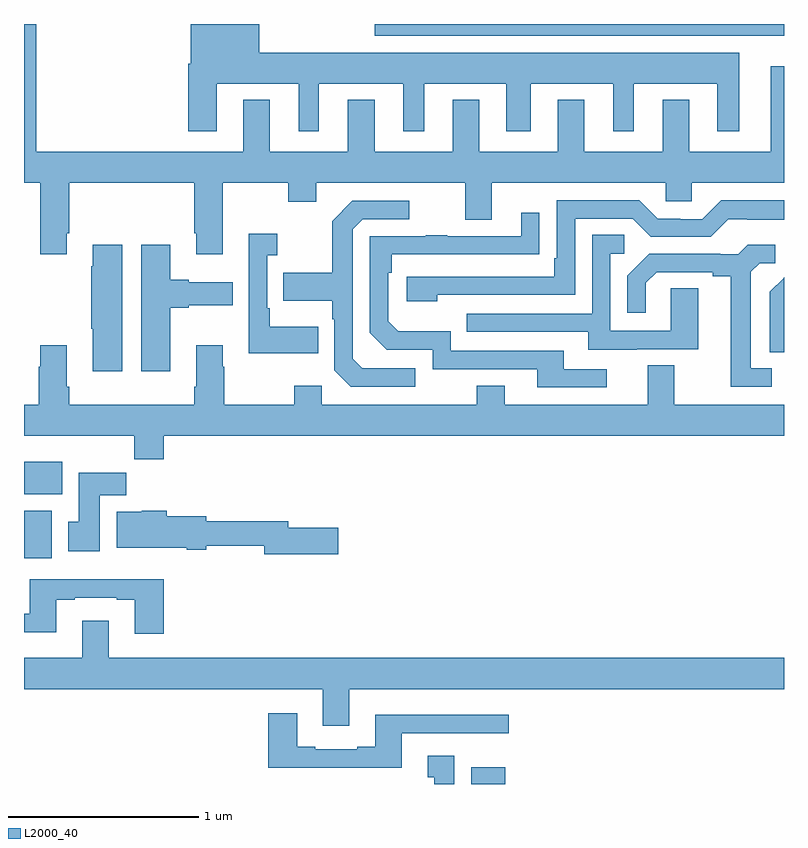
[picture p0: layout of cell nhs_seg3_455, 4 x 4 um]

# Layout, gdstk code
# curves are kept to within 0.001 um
import gdstk
lib = gdstk.Library(unit=1e-6, precision=1e-09)
def R(c, l, rs):  # rectangles x0, y0, x1, y1
    for r in rs: c.add(gdstk.rectangle(r[:2], r[2:], *l))
def P(c, l, *ps):  # polygons
    for p in ps: c.add(gdstk.Polygon(p, *l))
L2000_40 = (2000, 40)

nhs_seg3_455 = lib.new_cell('nhs_seg3_455')
R(nhs_seg3_455, L2000_40, [(135.353,716.4,135.532,716.488), (133,717.588,133.147,717.838), (133,717.926,133.201,718.096), (134.847,720.338,137,720.4)])
P(nhs_seg3_455, L2000_40, [(134.014,720.086),(134.447,720.086),(134.447,719.835),(134.551,719.835),(134.551,720.086),(134.996,720.086),(134.996,719.835),(135.106,719.835),(135.106,720.086),(135.539,720.086),(135.539,719.835),(135.667,719.835),(135.667,720.086),(136.1,720.086),(136.1,719.835),(136.21,719.835),(136.21,720.086),(136.649,720.086),(136.649,719.835),(136.765,719.835),(136.765,720.25),(134.239,720.25),(134.239,720.4),(133.877,720.4),(133.877,720.19),(133.865,720.19),(133.865,719.835),(134.014,719.835)],
  [(133.225,719.299),(133.238,719.299),(133.238,719.564),(133.895,719.564),(133.895,719.299),(133.907,719.299),(133.907,719.187),(134.047,719.187),(134.047,719.564),(134.392,719.564),(134.392,719.465),(134.539,719.465),(134.539,719.564),(135.323,719.564),(135.323,719.37),(135.463,719.37),(135.463,719.564),(136.377,719.564),(136.377,719.466),(136.515,719.466),(136.515,719.564),(137,719.564),(137,720.178),(136.931,720.178),(136.931,719.728),(136.501,719.728),(136.501,720.001),(136.361,720.001),(136.361,719.728),(135.949,719.728),(135.949,720.001),(135.809,720.001),(135.809,719.728),(135.397,719.728),(135.397,720.001),(135.257,720.001),(135.257,719.728),(134.845,719.728),(134.845,720.001),(134.705,720.001),(134.705,719.728),(134.293,719.728),(134.293,720.001),(134.153,720.001),(134.153,719.728),(133.064,719.728),(133.064,720.4),(133,720.4),(133,719.564),(133.085,719.564),(133.085,719.187),(133.225,719.187)],
  [(135.176,718.974),(135.9,718.974),(135.9,719.376),(136.203,719.376),(136.299,719.28),(136.614,719.28),(136.707,719.373),(136.807,719.373),(136.807,719.369),(137,719.369),(137,719.473),(136.669,719.473),(136.569,719.373),(136.454,719.373),(136.454,719.376),(136.335,719.376),(136.239,719.472),(135.804,719.472),(135.804,719.167),(135.791,719.167),(135.791,719.07),(135.015,719.07),(135.015,718.94),(135.176,718.94)],
  [(135.058,718.587),(134.781,718.587),(134.73,718.638),(134.73,719.319),(134.784,719.373),(135.028,719.373),(135.028,719.469),(134.727,719.469),(134.622,719.363),(134.622,719.091),(134.365,719.091),(134.365,718.943),(134.622,718.943),(134.622,718.847),(134.634,718.847),(134.634,718.578),(134.721,718.491),(135.058,718.491)],
  [(136.066,718.584),(135.841,718.584),(135.841,718.68),(135.246,718.68),(135.246,718.783),(134.969,718.783),(134.916,718.836),(134.916,719.09),(134.936,719.09),(134.936,719.187),(135.713,719.188),(135.713,719.407),(135.617,719.407),(135.617,719.283),(135.227,719.283),(135.227,719.288),(135.115,719.288),(135.115,719.283),(134.82,719.283),(134.82,718.776),(134.91,718.686),(135.15,718.686),(135.15,718.584),(135.701,718.584),(135.701,718.488),(136.066,718.488)],
  [(134.549,718.807),(134.293,718.807),(134.293,718.903),(134.28,718.903),(134.28,719.183),(134.332,719.183),(134.332,719.296),(134.184,719.296),(134.184,718.667),(134.549,718.667)],
  [(136.225,718.689),(136.549,718.689),(136.549,719.009),(136.404,719.009),(136.404,718.785),(136.086,718.785),(136.086,719.19),(136.159,719.19),(136.159,719.291),(135.99,719.291),(135.99,718.875),(135.331,718.875),(135.331,718.779),(135.971,718.779),(135.971,718.685),(136.225,718.685)],
  [(133.516,719.239),(133.361,719.239),(133.361,719.126),(133.354,719.126),(133.354,718.795),(133.361,718.795),(133.361,718.572),(133.516,718.572)],
  [(133.771,718.907),(133.867,718.907),(133.867,718.919),(134.098,718.919),(134.098,719.041),(133.867,719.041),(133.867,719.054),(133.771,719.054),(133.771,719.239),(133.616,719.239),(133.616,718.572),(133.771,718.572)],
  [(136.936,718.587),(136.825,718.587),(136.825,719.095),(136.872,719.142),(136.954,719.142),(136.954,719.239),(136.81,719.239),(136.758,719.187),(136.664,719.187),(136.664,719.19),(136.292,719.19),(136.176,719.074),(136.176,718.881),(136.273,718.881),(136.273,719.037),(136.33,719.094),(136.625,719.094),(136.625,719.072),(136.721,719.072),(136.721,718.491),(136.936,718.491)],
  [(137,719.066),(136.998,719.064),(136.999,719.063),(136.926,718.99),(136.926,718.672),(137,718.672)],
  [(133.736,718.232),(137,718.232),(137,718.396),(136.423,718.396),(136.423,718.604),(136.283,718.604),(136.283,718.396),(135.529,718.396),(135.529,718.495),(135.382,718.495),(135.382,718.396),(134.568,718.396),(134.568,718.495),(134.422,718.495),(134.422,718.396),(134.055,718.396),(134.055,718.595),(134.047,718.595),(134.047,718.708),(133.907,718.708),(133.907,718.492),(133.895,718.492),(133.895,718.396),(133.238,718.396),(133.238,718.492),(133.225,718.492),(133.225,718.708),(133.085,718.708),(133.085,718.595),(133.078,718.595),(133.078,718.396),(133,718.396),(133,718.232),(133.579,718.232),(133.579,718.108),(133.736,718.108)],
  [(133.399,717.92),(133.538,717.92),(133.538,718.038),(133.289,718.038),(133.289,717.78),(133.232,717.78),(133.232,717.624),(133.399,717.624)],
  [(134.653,717.75),(134.392,717.75),(134.392,717.784),(133.96,717.784),(133.96,717.81),(133.751,717.81),(133.751,717.838),(133.62,717.838),(133.62,717.832),(133.487,717.832),(133.487,717.644),(133.856,717.644),(133.856,717.632),(133.96,717.632),(133.96,717.655),(134.264,717.655),(134.264,717.608),(134.653,717.608)],
  [(133.736,717.478),(133.031,717.478),(133.031,717.297),(133,717.297),(133,717.2),(133.171,717.2),(133.171,717.369),(133.267,717.369),(133.267,717.381),(133.487,717.381),(133.487,717.369),(133.583,717.369),(133.583,717.192),(133.736,717.192)],
  [(134.713,716.9),(137,716.9),(137,717.064),(133.447,717.064),(133.447,717.259),(133.307,717.259),(133.307,717.064),(133,717.064),(133,716.9),(134.573,716.9),(134.573,716.706),(134.713,716.706)],
  [(134.989,716.667),(135.55,716.667),(135.55,716.764),(134.849,716.764),(134.849,716.596),(134.753,716.596),(134.753,716.583),(134.533,716.583),(134.533,716.596),(134.437,716.596),(134.437,716.773),(134.285,716.773),(134.285,716.486),(134.989,716.486)],
  [(135.265,716.548),(135.125,716.548),(135.125,716.435),(135.158,716.435),(135.158,716.4),(135.265,716.4)])

lib.write_gds('nhs_seg3_455.gds')
